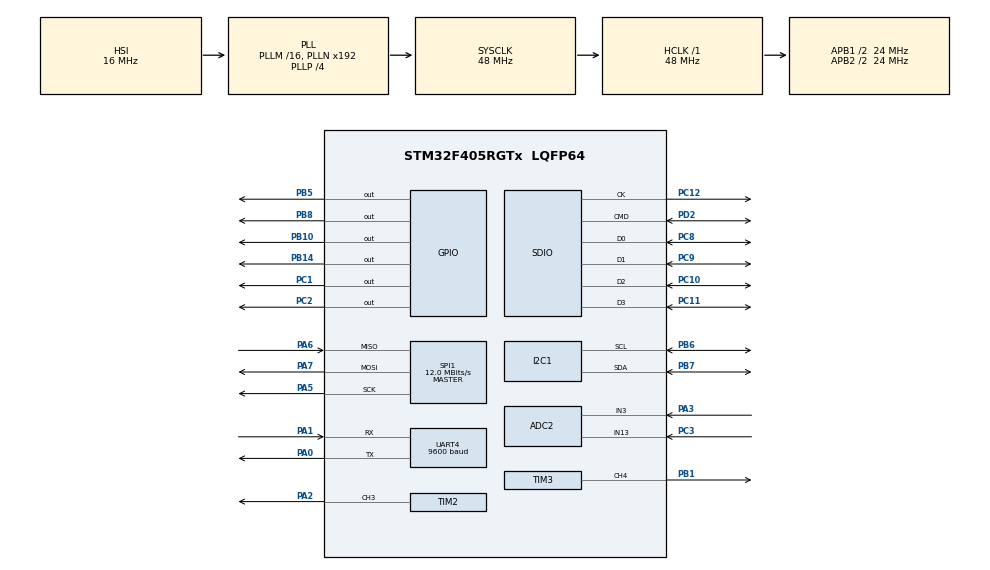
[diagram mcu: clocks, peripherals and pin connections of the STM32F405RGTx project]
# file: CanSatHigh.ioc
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Mcu.Family=STM32F4
PB10.PinState=GPIO_PIN_SET
PA6.Mode=Full_Duplex_Master
RCC.CortexFreq_Value=48000000
PC10.GPIO_PuPd=GPIO_PULLUP
FATFS._USE_LFN=0
NVIC.I2C1_EV_IRQn=true\:0\:0\:false\:false\:true\:true\:true
SPI1.VirtualType=VM_MASTER
ADC2.Channel-0\#ChannelRegularConversion=ADC_CHANNEL_3
VP_FATFS_VS_SDIO.Mode=SDIO
PC10.Signal=SDIO_D2
PC12.Signal=SDIO_CK
PC2.GPIO_Speed=GPIO_SPEED_FREQ_HIGH
TIM3.Channel-PWM\ Generation4\ CH4=TIM_CHANNEL_4
RCC.SYSCLKSource=RCC_SYSCLKSOURCE_PLLCLK
ProjectManager.StackSize=0x400
PC11.GPIO_PuPd=GPIO_PULLUP
TIM1.Prescaler=1000-1
TIM2.Pulse-PWM\ Generation3\ CH3=13333-1
SPI1.Direction=SPI_DIRECTION_2LINES
UART4.BaudRate=9600
RCC.HCLKFreq_Value=48000000
SH.ADCx_IN3.0=ADC2_IN3,IN3
RCC.APB2TimFreq_Value=48000000
TIM3.Period=1920-1
PB6.Signal=I2C1_SCL
PB5.PinState=GPIO_PIN_SET
PB6.Mode=I2C
SPI1.CalculateBaudRate=12.0 MBits/s
PC3.Signal=ADCx_IN13
PC1.PinState=GPIO_PIN_SET
RCC.AHBFreq_Value=48000000
RCC.HSE_VALUE=25000000
PA14.Mode=Serial_Wire
TIM3.Prescaler=500-1
PC9.Mode=SD_4_bits_Wide_bus
PB8.PinState=GPIO_PIN_SET
PB7.Signal=I2C1_SDA
VP_TIM1_VS_ClockSourceINT.Mode=Internal
Mcu.Package=LQFP64
TIM2.Prescaler=0
PB1.Signal=S_TIM3_CH4
PA6.Signal=SPI1_MISO
ADC2.SamplingTime-0\#ChannelRegularConversion=ADC_SAMPLETIME_3CYCLES
PC11.Mode=SD_4_bits_Wide_bus
PB5.GPIO_Speed=GPIO_SPEED_FREQ_HIGH
FATFS._FS_MINIMIZE=0
RCC.APB2CLKDivider=RCC_HCLK_DIV2
RCC.APB1TimFreq_Value=48000000
TIM1.Period=48000-1
ADC2.Rank-0\#ChannelRegularConversion=1
SPI1.BaudRatePrescaler=SPI_BAUDRATEPRESCALER_2
VP_TIM3_VS_ClockSourceINT.Mode=Internal
PA3.Signal=ADCx_IN3
NVIC.UART4_IRQn=true\:1\:0\:true\:false\:true\:true\:true
PA5.Mode=Full_Duplex_Master
ADC2.ClockPrescaler=ADC_CLOCK_SYNC_PCLK_DIV4
SH.ADCx_IN13.0=ADC2_IN13,IN13
PA7.Mode=Full_Duplex_Master
PD2.GPIO_PuPd=GPIO_PULLUP
PC11.Signal=SDIO_D3
PC8.Signal=SDIO_D0
PC2.Signal=GPIO_Output
PC10.Mode=SD_4_bits_Wide_bus
RCC.APB1CLKDivider=RCC_HCLK_DIV2
UART4.VirtualMode=Asynchronous
NVIC.SDIO_IRQn=true\:0\:0\:false\:false\:true\:true\:true
PA0-WKUP.Signal=UART4_TX
PA0-WKUP.Mode=Asynchronous
PA13.Signal=SYS_JTMS-SWDIO
ProjectManager.TargetToolchain=STM32CubeIDE
I2C1.I2C_Mode=I2C_Standard
SDIO.ClockDiv=22
RCC.LSE_VALUE=32768
PA1.Signal=UART4_RX
PB10.Signal=GPIO_Output
PB14.Signal=GPIO_Output
PD2.Mode=SD_4_bits_Wide_bus
PA5.Signal=SPI1_SCK
PC12.Mode=SD_4_bits_Wide_bus
board=custom
RCC.VCOOutputFreq_Value=192000000
RCC.APB2Freq_Value=24000000
PA1.Mode=Asynchronous
VP_TIM2_VS_ClockSourceINT.Mode=Internal
SH.S_TIM2_CH3.0=TIM2_CH3,PWM Generation3 CH3
SPI1.Mode=SPI_MODE_MASTER
TIM2.Channel-PWM\ Generation3\ CH3=TIM_CHANNEL_3
PC9.GPIO_PuPd=GPIO_PULLUP
PC1.GPIO_Speed=GPIO_SPEED_FREQ_HIGH
TIM2.Period=26667-1
PA13.Mode=Serial_Wire
Mcu.Name=STM32F405RGTx
PA2.Signal=S_TIM2_CH3
FATFS._MAX_SS=512
PC8.Mode=SD_4_bits_Wide_bus
PC8.GPIO_PuPd=GPIO_PULLUP
RCC.SYSCLKFreq_VALUE=48000000
PB5.Signal=GPIO_Output
PC2.PinState=GPIO_PIN_SET
ADC2.NbrOfConversionFlag=1
PB7.Mode=I2C
PA14.Signal=SYS_JTCK-SWCLK
ProjectManager.HeapSize=0x200
NVIC.TIM1_UP_TIM10_IRQn=true\:0\:0\:false\:false\:true\:true\:true
RCC.HSI_VALUE=16000000
RCC.PLLP=RCC_PLLP_DIV4
NVIC.PriorityGroup=NVIC_PRIORITYGROUP_4
PB8.Signal=GPIO_Output
PC9.Signal=SDIO_D1
PD2.Signal=SDIO_CMD
RCC.APB1Freq_Value=24000000
PB8.GPIO_Speed=GPIO_SPEED_FREQ_HIGH
TIM3.Pulse-PWM\ Generation4\ CH4=147-1
PC1.Signal=GPIO_Output
SH.S_TIM3_CH4.0=TIM3_CH4,PWM Generation4 CH4
PA7.Signal=SPI1_MOSI

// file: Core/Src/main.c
/* USER CODE BEGIN Header */
/**
  ******************************************************************************
  * @file           : main.c
  * @brief          : Main program body
  ******************************************************************************
  * @attention
  *
  * <h2><center>&copy; Copyright (c) 2022 STMicroelectronics.
  * All rights reserved.</center></h2>
  *
  * This software component is licensed by ST under BSD 3-Clause license,
  * the "License"; You may not use this file except in compliance with the
  * License. You may obtain a copy of the License at:
  *                        opensource.org/licenses/BSD-3-Clause
  *
  ******************************************************************************
  */
/* USER CODE END Header */
#include "main.h"
#include "adc.h"
#include "fatfs.h"
#include "i2c.h"
#include "sdio.h"
#include "spi.h"
#include "tim.h"
#include "usart.h"
#include "gpio.h"

/* USER CODE BEGIN Includes */
#include <stdio.h>
#include "Databuf.h"
#include "MS5607SPI.h"
#include "LSM6DSLTR.h"
#include "LSM303DTR.h"
#include "STLM75M2F.h"
#include "gps.h"
#include "LoRa-RA.h"

#include "bmp280.h"
/* USER CODE END Includes */

/* USER CODE BEGIN PV */
static FATFS fatfs;
static FIL file;
static UINT bytesWritten;

static uint8_t DEBUG_BUFFER[256];
static uint16_t DEBUG_BUFFER_SIZE = 0;

static LSM303DTR_Data_Typedef LSM303DTR_Data;
static LSM6DSLTR_Data_Typedef LSM6DSLTR_Data;
static lora_sx1276 LoRa;

FRESULT SD_mountStatus = -1;
FRESULT SD_openStatus = -1;
FRESULT SD_writeStatus = -1;
FRESULT SD_seekStatus = -1;
FRESULT SD_syncStatus = -1; // flush bytes to SD
FRESULT SD_closeStatus = -1;
MS5607StateTypeDef MS5607_status1 = MS5607_STATE_FAILED;
LSM6DSLTR_Status LSM6DSLTR_status2 = LSM6DSLTR_DEVICE_ERROR;
LSM303DTR_Status LSM303DTR_status3 = LSM303DTR_DEVICE_ERROR;
uint8_t LoRa_status4 = 1;
uint8_t LoRa_statusSend = 1;
uint32_t loopStartTick = 0;
uint32_t loopTime = 0;
uint32_t sysInitTime = 0;
uint32_t userInitTime = 0;

int16_t stlmTemperature = 0;
float stlmTemperatureFloat = 0.0F;
float ms5607_temperature_c = 0.0F;
int32_t ms5607_raw_temperature = 0;
int32_t ms5607_pressure_pa = 0;
float ms5607_altitude = 0.0F;
int32_t ms5607_altitude_i32 = 0;
int32_t ms5607_reference_pressure_pa = 0;

static GPS_Data_Typedef GPS_Data;

/* INA180A sensor */
/*#define INA180A_ADC_MAX 4095.0F
#define INA180A_ADC_REF 3.3F
#define INA180A_GAIN 200.0F
#define INA180A_SHUNT 0.01F
uint32_t ina180a_adc_value;
float ina180a_v, ina180a_a;*/
/* INA180A sensor */

#define R1 82000.0 // 82 kOm
#define R2 200000.0 // 200 kOm
uint32_t adc2_in13_value;
float adc2_in13_v;

uint32_t photoresist_adc_value;
uint8_t currentADCChannel = ADC_CHANNEL_10;

uint32_t startServoDelay = 0;
uint32_t startServoPWM = 0;
uint32_t startDelayChange = 0;

uint8_t isBuzzerWorking = 0;
uint8_t isTimerStarted = 0;

/** Thresholds start **/
uint32_t photoresist_threshold = 1200;
float ms5607_altitudeThreshold = 500.0F;
/** Thresholds end **/

BMP280_HandleTypedef bmp280;
uint8_t bmp280_status = 0;
float bmp280_reference_pressure = 0.0F;
float bmp280_pressure = 0.0F;
float bmp280_altitude = 0.0F;
int32_t bmp280_altitude_i32 = 0;

uint8_t syncSDLoopIndex = 0;
uint8_t isSDFileClosed = 0;
uint8_t canLoRaSend = 1;

/** Test sd card using HAL
 * uint8_t readBuf[512];
 * uint8_t writeBuf[512] = "test string";
 * SD_HandleTypeDef hsd;
 * HAL_StatusTypeDef initS = -1, writeS = -1, readS = -1;
**/

/* USER CODE END PV */

void SystemClock_Config(void);

/* USER CODE BEGIN 0 */

// UART RX callback
void HAL_UART_RxCpltCallback(UART_HandleTypeDef* huart) {
	GPS_Callback(huart, &GPS_Data);
}

// ADC Conversion Callback
/*void HAL_ADC_ConvCpltCallback(ADC_HandleTypeDef* hadc) {
	if(hadc->Instance == ADC2) {
		// get adc value
	}
}*/

// Buzzer update Callback
void HAL_TIM_PeriodElapsedCallback(TIM_HandleTypeDef* htim) {
	if(htim->Instance == TIM1) {
		if(isTimerStarted > 0) {
			if(isBuzzerWorking > 0) {
				isBuzzerWorking = 0;
			} else {
				isBuzzerWorking = 1;
			}
		}
	}
}

/* USER CODE END 0 */

int main(void)
{

  /* MCU Configuration--------------------------------------------------------*/

  /* Reset of all peripherals, Initializes the Flash interface and the Systick. */
  HAL_Init();

  /* Configure the system clock */
  SystemClock_Config();

  /* USER CODE BEGIN SysInit */
  uint32_t sysInitStartTick = HAL_GetTick();
  /* USER CODE END SysInit */

  /* Initialize all configured peripherals */
  MX_GPIO_Init();
  MX_SPI1_Init();
  MX_SDIO_SD_Init();
  MX_FATFS_Init();
  MX_I2C1_Init();
  MX_UART4_Init();
  MX_TIM2_Init();
  MX_TIM3_Init();
  MX_ADC2_Init();
  MX_TIM1_Init();
  /* USER CODE BEGIN 2 */
  sysInitTime = HAL_GetTick() - sysInitStartTick;
  uint32_t userInitStartTick = HAL_GetTick();
  /*
   * -- SPI CHIP SELECTS --
   * PB5 - pressure sensor - MS5607
   * PC1 - accelerometer/gyroscope module - LSM6DSLTR
   * PC2 - accelerometer/magnetometer module - LSM303DTR
   * PB8 - radio module - LORA-RA-02
  */
  /*
   * -- OSR'S -- | supply current (1 sample per sec.) | conversion time | pressure resolution | temperature resolution |
   * 	 256	 |				0.9 uA				  |  0.6 ms (max)   |	  0.130 mbar	  |			0.012 C		   |
   * 	 512	 |				1.7 uA				  |  1.17 ms (max)  |	  0.084 mbar	  |			0.008 C 	   |
   * 	1024	 |				3.2 uA				  |  2.28 ms (max)  |	  0.054 mbar	  |			0.005 C 	   |
   * 	2048	 | 				6.3 uA				  |  4.54 ms (max)  |	  0.036 mbar	  |			0.003 C 	   |
   * 	4096	 |				12.5 uA				  |  9.04 ms (max)  |	  0.024 mbar 	  |			0.002 C 	   |
   */
  HAL_Delay(50);
  STLM75M2F_Init(&hi2c1);

  MS5607_SetPressureOSR(MS5607_OSR_256);
  MS5607_SetTemperatureOSR(MS5607_OSR_256);
  MS5607_status1 = MS5607_Init(&hspi1, GPIOB, GPIO_PIN_5);

  LSM6DSLTR_status2 = LSM6DSLTR_Init(&hspi1, GPIOC, GPIO_PIN_1);
  LSM6DSLTR_SetAccelerometerODR_FS(LSM6DSLTR_ODR_12_5HZ, LSM6DSLTR_FS_16G);
  LSM6DSLTR_SetGyroscopeODR_FS(LSM6DSLTR_ODR_12_5HZ, LSM6DSLTR_FS_1KDPS, LSM6DSLTR_SETTING_FS_125DPS_DISABLE);

  LSM303DTR_status3 = LSM303DTR_Init(&hspi1, GPIOC, GPIO_PIN_2);
  ////LSM303DTR_EnableThermometer();
  LSM303DTR_SetAccelerometerFS(LSM303DTR_FS_16G);
  LSM303DTR_SetAccelerometerODR(LSM303DTR_ODR_12_5HZ);
  LSM303DTR_SetCompassMode(LSM303DTR_CONTINUOUS_CONVERSION);
  LSM303DTR_SetCompassFS(LSM303DTR_FS_8GAUSS);
  LSM303DTR_SetCompassODR(LSM303DTR_ODR_12_5HZ);

  HAL_Delay(50);
  bmp280_init_default_params(&bmp280.params);
  bmp280.addr = BMP280_I2C_ADDRESS_0;
  bmp280.spi = &hspi1;
  bmp280.spiPort = GPIOB;
  bmp280.spiPin = GPIO_PIN_10;
  bmp280_status = bmp280_init(&bmp280, &bmp280.params);

  LoRa_status4 = lora_init(&LoRa, &hspi1, GPIOB, GPIO_PIN_8, 434000000);

  /** Test sd card using HAL
   * HAL_SD_MspInit(&hsd);
   * initS = HAL_SD_Init(&hsd);
  **/
  // mount the SD card BEGIN
  HAL_Delay(50);
  SD_mountStatus = f_mount(&fatfs, "", 1);
  // mount the SD card END
  userInitTime = HAL_GetTick() - userInitStartTick;

  // write init info to sd card
  SD_openStatus = f_open(&file, "data3.txt", FA_OPEN_ALWAYS | FA_WRITE);
  SD_seekStatus = f_lseek(&file, f_size(&file));
  __disable_irq();
  SD_writeStatus = f_printf(&file, "\nSystem init: %dms\n", sysInitTime);
  f_printf(&file, "User init: %dms\n", userInitTime);
  f_printf(&file, "MS5607 - %d\n", MS5607_status1);
  f_printf(&file, "LSM6DSLTR - %d\n", LSM6DSLTR_status2);
  f_printf(&file, "LSM303DTR - %d\n", LSM303DTR_status3);
  f_printf(&file, "LoRa-RA-02 - %d\n", LoRa_status4);
  f_printf(&file, "| T(ms), STLM75: temperature | MS5607: temperature, pressure | LSM6: T Gx Gy Gz Ax Ay Az | LSM3: T Ax Ay Az Mx My Mz |\n");
  f_printf(&file, "==================\n\n");
  __enable_irq();
  SD_syncStatus = f_sync(&file);

  // timer pwm
  ////setPWM(&htim2, TIM_CHANNEL_3, hzToPeriod(3000), hzToPeriod(3000)/2);
  setPWM(&htim3, TIM_CHANNEL_4, 1920, servoAngle(1920, 10));
  HAL_Delay(4000);

  // start GPS module
  GPS_Init(&huart4);

  // read reference pressure
  MS5607_Update();
  ms5607_reference_pressure_pa = MS5607_GetPressurePa();

  bmp280_read_float(&bmp280, NULL, &bmp280_reference_pressure, NULL);
  /* USER CODE END 2 */

  /* Infinite loop */
  /* USER CODE BEGIN WHILE */
  //uint32_t loopTime;
  while (1)
  {
	loopStartTick = HAL_GetTick();

	//setPWM(&htim3, TIM_CHANNEL_4, 1920, servoAngle(1920, 100));
	//HAL_Delay(4000);

	/** ina180a & photoresistor read adc start **/
	ADC_SetChannel(ADC_CHANNEL_3);
	HAL_ADC_Start(&hadc2);
	HAL_ADC_PollForConversion(&hadc2, 1000);
	photoresist_adc_value = HAL_ADC_GetValue(&hadc2);
	HAL_ADC_Stop(&hadc2);

	ADC_SetChannel(ADC_CHANNEL_13);
	HAL_ADC_Start(&hadc2);
	HAL_ADC_PollForConversion(&hadc2, 1000);
	/* INA180A sensor start */
	/*ina180a_adc_value = HAL_ADC_GetValue(&hadc2);
	ina180a_v = ina180a_adc_value / INA180A_ADC_MAX * INA180A_ADC_REF;
	ina180a_a = ina180a_v / (INA180A_SHUNT * INA180A_GAIN);*/
	/* INA180A sensor end */
	adc2_in13_value = HAL_ADC_GetValue(&hadc2);
	adc2_in13_v = adc2_in13_value * 3.3F / 4095.0F;
	adc2_in13_v = adc2_in13_v / (R2 / (R1+R2));
	HAL_ADC_Stop(&hadc2);

	// after altitude > threshold or time >= 5000
	// after get light from photoresist, 4 sec delay, 4 sec PWM enable
	if((startDelayChange == 0 || startServoDelay == 0) && (ms5607_altitude >= ms5607_altitudeThreshold || bmp280_altitude >= ms5607_altitudeThreshold) && photoresist_adc_value >= photoresist_threshold) {
		startServoDelay = loopStartTick;
		startDelayChange = loopStartTick;
	}

	if(startServoDelay != 0 && loopStartTick - startServoDelay >= 10000) { // увеличить до 10 сек
		if(startServoPWM == 0) {
			startServoPWM = loopStartTick;
		}
	}

	if(startServoPWM != 0) {
		if(loopStartTick - startServoPWM < 30000) {
			setPWM(&htim3, TIM_CHANNEL_4, 1920, servoAngle(1920, 100));
		} else {
			if(isTimerStarted == 0) {
				// start buzzer timer
				HAL_TIM_Base_Start_IT(&htim1);
				isTimerStarted = 1;
			}
		}
	}

	if(isBuzzerWorking > 0) {
		setPWM(&htim2, TIM_CHANNEL_3, hzToPeriod(1500), hzToPeriod(1500)/2);
	} else {
		HAL_TIM_PWM_Stop(&htim2, TIM_CHANNEL_3);
	}
	/** ina180a & photoresistor read adc end **/

	/** Test sd card using HAL
	 * writeS = HAL_SD_WriteBlocks(&hsd, writeBuf, 0x55, 1, 500);
	 * HAL_Delay(100);
	 * readS = HAL_SD_ReadBlocks(&hsd, readBuf, 0x55, 1, 500);
	**/

	////__disable_irq();
	//FRESULT createNew = f_open(&file, "data2.txt", FA_CREATE_NEW | FA_WRITE);
	//if(createNew == FR_EXIST) {
		/***SD_openStatus = f_open(&file, "data3.txt", FA_OPEN_ALWAYS | FA_WRITE);
	//}
	SD_seekStatus = f_lseek(&file, f_size(&file));
	uint16_t writeSize = sprintf(writeBuf, "Loop: %dms\r\n", loopStartTick);
	__disable_irq();
	SD_writeStatus = f_write(&file, writeBuf, writeSize, &bytesWritten);
	__enable_irq();
	SD_closeStatus = f_close(&file);***/

	// STLM TEST //
	////stlmTemp = STLM75M2F_GetTemperature();
	////float stlmFloatTemp = stlmTemp / 256.0F;
	////sprintf(writeBuf, "Temp: %.2f\r\n", stlmFloatTemp);
	// STLM TEST END //

	////LoRa_statusSend = lora_send_packet_blocking(&LoRa, writeBuf, writeSize, 1000);

	////__enable_irq();

	bmp280_read_float(&bmp280, NULL, &bmp280_pressure, NULL);
	bmp280_altitude = MS5607_Altitude(bmp280_reference_pressure, bmp280_pressure);
	bmp280_altitude_i32 = MS5607_Altitude_I32(bmp280_altitude);

	MS5607_Update();
	ms5607_raw_temperature = MS5607_GetRawTemperature();
	ms5607_temperature_c = (float)MS5607_GetTemperatureC();
	ms5607_pressure_pa = MS5607_GetPressurePa();
	ms5607_altitude = MS5607_Altitude(ms5607_reference_pressure_pa, ms5607_pressure_pa);
	ms5607_altitude_i32 = MS5607_Altitude_I32(ms5607_altitude);

	LSM303DTR_ReadData(&LSM303DTR_Data);
	LSM6DSLTR_ReadData(&LSM6DSLTR_Data);

	stlmTemperature = STLM75M2F_GetTemperature();
	stlmTemperatureFloat = stlmTemperature / 256.0F;

	Buf_clear();
	Buf_push8(0x24); // $
	Buf_push32(loopStartTick/250);
	Buf_push16(stlmTemperature);
	Buf_push32(ms5607_raw_temperature);
	Buf_push32(ms5607_altitude_i32);
	Buf_push32(bmp280_altitude_i32);
	Buf_push32(adc2_in13_value);
	Buf_push16((int16_t)photoresist_adc_value);

	Buf_push32(GPS_Data.latitude1);
	Buf_push32(GPS_Data.latitude2);
	Buf_push32(GPS_Data.longitude1);
	Buf_push32(GPS_Data.longitude2);

	Buf_push16(LSM6DSLTR_Data.gyroscope.x);
	Buf_push16(LSM6DSLTR_Data.gyroscope.y);
	Buf_push16(LSM6DSLTR_Data.gyroscope.z);
	Buf_push16(LSM6DSLTR_Data.accelerometer.x);
	Buf_push16(LSM6DSLTR_Data.accelerometer.y);
	Buf_push16(LSM6DSLTR_Data.accelerometer.z);

	//Buf_push16(LSM303DTR_Data.accelerometer.x);
	//Buf_push16(LSM303DTR_Data.accelerometer.y);
	//Buf_push16(LSM303DTR_Data.accelerometer.z);
	Buf_push16(LSM303DTR_Data.compass.x);
	Buf_push16(LSM303DTR_Data.compass.y);
	Buf_push16(LSM303DTR_Data.compass.z);
	Buf_push8(0x0A); // \n

	/***DEBUG_BUFFER_SIZE = sprintf(
		DEBUG_BUFFER,
		"%.3f, STLM75: %.2f | MS: %.2f %d | LSM6: %.2f %.2f %.2f %.2f %.2f %.2f %.2f | LSM3: %.2f %.2f %.2f %.2f %.2f %.2f %.2f\n",
		loopStartTick / 1000.0F,
		stlmTemperatureFloat,
		ms5607_temperature_c,
		ms5607_pressure_pa,
		int16_tToFloat(LSM6DSLTR_Data.temperature, 1),
		int16_tToFloat(LSM6DSLTR_Data.gyroscope.x, 1000),
		int16_tToFloat(LSM6DSLTR_Data.gyroscope.y, 1000),
		int16_tToFloat(LSM6DSLTR_Data.gyroscope.z, 1000),
		int16_tToFloat(LSM6DSLTR_Data.accelerometer.y, 16),
		int16_tToFloat(LSM6DSLTR_Data.accelerometer.x, 16),
		int16_tToFloat(LSM6DSLTR_Data.accelerometer.z, 16),
		int16_tToFloat(LSM303DTR_Data.temperature, 1),
		int16_tToFloat(LSM303DTR_Data.accelerometer.x, 16),
		int16_tToFloat(LSM303DTR_Data.accelerometer.y, 16),
		int16_tToFloat(LSM303DTR_Data.accelerometer.z, 16),
		int16_tToFloat(LSM303DTR_Data.compass.x, 8),
		int16_tToFloat(LSM303DTR_Data.compass.y, 8),
		int16_tToFloat(LSM303DTR_Data.compass.z, 8)
	);***/

	//LoRa_statusSend = lora_send_packet_blocking(&LoRa, Buf_getDatabuf(), Buf_getDatasize(), 1000);
	if(canLoRaSend > 0) {
		LoRa_statusSend = lora_send_packet(&LoRa, Buf_getDatabuf(), Buf_getDatasize());
		canLoRaSend = 0;
	} else {
		if(lora_wait_send(&LoRa) == LORA_OK) {
			canLoRaSend = 1;
		}
	}

	//
	/**__disable_irq();
	f_open(&file, "Log.txt", FA_OPEN_ALWAYS | FA_WRITE);
	f_lseek(&file, f_size(&file));
	f_write(&file, Buf_getDatabuf(), Buf_getDatasize(), &bytesWritten);
	**/

	DEBUG_BUFFER_SIZE = sprintf(
		DEBUG_BUFFER,
		"%.3f, STLM75: %.2f | MS: %.2f %d %.2f BMP: %.2f %.2f | %.2f %d GPS: %d.%d %d.%d | LSM6: %.2f %.2f %.2f %.2f %.2f %.2f | LSM3: %.2f %.2f %.2f\n",
		loopStartTick / 1000.0F,
		stlmTemperatureFloat,
		ms5607_temperature_c,
		ms5607_pressure_pa,
		ms5607_altitude,
		bmp280_pressure,
		bmp280_altitude,
		adc2_in13_v,
		photoresist_adc_value,
		GPS_Data.latitude1,
		GPS_Data.latitude2,
		GPS_Data.longitude1,
		GPS_Data.longitude2,

		int16_tToFloat(LSM6DSLTR_Data.gyroscope.x, 1000),
		int16_tToFloat(LSM6DSLTR_Data.gyroscope.y, 1000),
		int16_tToFloat(LSM6DSLTR_Data.gyroscope.z, 1000),
		int16_tToFloat(LSM6DSLTR_Data.accelerometer.x, 16),
		int16_tToFloat(LSM6DSLTR_Data.accelerometer.y, 16),
		int16_tToFloat(LSM6DSLTR_Data.accelerometer.z, 16),
		int16_tToFloat(LSM303DTR_Data.compass.x, 8),
		int16_tToFloat(LSM303DTR_Data.compass.y, 8),
		int16_tToFloat(LSM303DTR_Data.compass.z, 8)
	);
	if(!isSDFileClosed) {
		SD_seekStatus = f_lseek(&file, f_size(&file));
		__disable_irq();
		SD_writeStatus = f_write(&file, DEBUG_BUFFER, DEBUG_BUFFER_SIZE, &bytesWritten);
		if(syncSDLoopIndex >= 9) { // flush bytes to SD every 10 loops
			SD_syncStatus = f_sync(&file);
			syncSDLoopIndex = 0;
		}
		__enable_irq();
	}

	// toggle LED
	HAL_GPIO_TogglePin(GPIOB, GPIO_PIN_14);
	syncSDLoopIndex++;
	//
	loopTime = HAL_GetTick() - loopStartTick;

	// DELAY CHANGE

	if(startDelayChange != 0 && loopStartTick - startDelayChange >= 180000) {
		if(loopTime < 1000) HAL_Delay(1000 - 1 - loopTime);
		if(!isSDFileClosed) {
			SD_closeStatus = f_close(&file);
			isSDFileClosed = 1;
		}
	} else {
		if(loopTime < 50) HAL_Delay(50 - 1 - loopTime);
	}
    /* USER CODE END WHILE */

  }
}

void SystemClock_Config(void)
{
  RCC_OscInitTypeDef RCC_OscInitStruct = {0};
  RCC_ClkInitTypeDef RCC_ClkInitStruct = {0};

  /** Configure the main internal regulator output voltage
  */
  __HAL_RCC_PWR_CLK_ENABLE();
  __HAL_PWR_VOLTAGESCALING_CONFIG(PWR_REGULATOR_VOLTAGE_SCALE1);
  /** Initializes the RCC Oscillators according to the specified parameters
  * in the RCC_OscInitTypeDef structure.
  */
  RCC_OscInitStruct.OscillatorType = RCC_OSCILLATORTYPE_HSI;
  RCC_OscInitStruct.HSIState = RCC_HSI_ON;
  RCC_OscInitStruct.HSICalibrationValue = RCC_HSICALIBRATION_DEFAULT;
  RCC_OscInitStruct.PLL.PLLState = RCC_PLL_ON;
  RCC_OscInitStruct.PLL.PLLSource = RCC_PLLSOURCE_HSI;
  RCC_OscInitStruct.PLL.PLLM = 16;
  RCC_OscInitStruct.PLL.PLLN = 192;
  RCC_OscInitStruct.PLL.PLLP = RCC_PLLP_DIV4;
  RCC_OscInitStruct.PLL.PLLQ = 4;
  if (HAL_RCC_OscConfig(&RCC_OscInitStruct) != HAL_OK)
  {
    Error_Handler();
  }
  /** Initializes the CPU, AHB and APB buses clocks
  */
  RCC_ClkInitStruct.ClockType = RCC_CLOCKTYPE_HCLK|RCC_CLOCKTYPE_SYSCLK
                              |RCC_CLOCKTYPE_PCLK1|RCC_CLOCKTYPE_PCLK2;
  RCC_ClkInitStruct.SYSCLKSource = RCC_SYSCLKSOURCE_PLLCLK;
  RCC_ClkInitStruct.AHBCLKDivider = RCC_SYSCLK_DIV1;
  RCC_ClkInitStruct.APB1CLKDivider = RCC_HCLK_DIV2;
  RCC_ClkInitStruct.APB2CLKDivider = RCC_HCLK_DIV2;

  if (HAL_RCC_ClockConfig(&RCC_ClkInitStruct, FLASH_LATENCY_1) != HAL_OK)
  {
    Error_Handler();
  }
}

void Error_Handler(void)
{
  __disable_irq();
  while (1)
  {
  }
}

/************************ (C) COPYRIGHT STMicroelectronics *****END OF FILE****/
